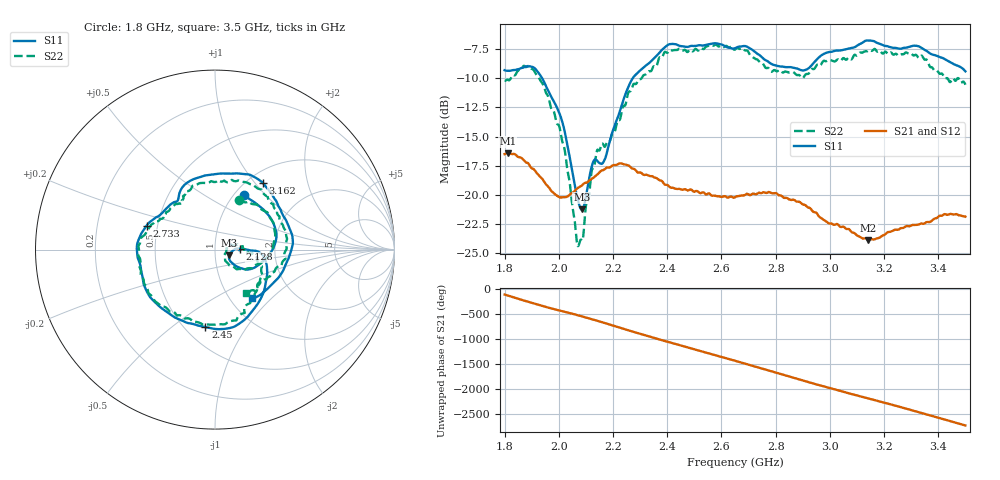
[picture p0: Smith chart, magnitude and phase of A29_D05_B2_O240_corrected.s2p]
! Created with skrf 1.9.0 (http://scikit-rf.org).
# Hz S RI R 50.0
!freq ReS11 ImS11 ReS21 ImS21 ReS12 ImS12 ReS22 ImS22
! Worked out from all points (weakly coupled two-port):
!   1601 points, 1.8 GHz to 3.5 GHz, reference 50 ohm
!   highest |S21| = -16.44 dB at 1.812 GHz (marker M1); lowest = -23.9 dB at 3.142 GHz (marker M2)
!   lowest |S11| = -21.3 dB at 2.085 GHz (marker M3), VSWR 1.19, Z = 58.6 - j3.73 ohm
!   |S11| at or under -10 dB: 1.939 GHz to 2.272 GHz (333.4 MHz wide, 15.8 % of centre)
!   |S22| runs from -24.4 to -7.1 dB; largest |S21 - S12| = 0.0028
!   S11 on the Smith chart (normalised r, x): 1.8 GHz: 1.11, +0.76; 2.128 GHz: 1.32, +0.01; 2.45 GHz: 0.62, -0.67; 2.733 GHz: 0.44, +0.14; 3.162 GHz: 1.16, +1.10; 3.5 GHz: 1.25, -0.77
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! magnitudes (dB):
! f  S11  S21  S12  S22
! 1.8 GHz  -9.3  -16.5  -16.5  -10.2
! 1.812 GHz  -9.3  -16.4  -16.4  -10.1
! 1.887 GHz  -9.0  -17.3  -17.4  -8.9
! 1.941 GHz  -10.1  -18.7  -18.7  -10.5
! 2.008 GHz  -13.4  -20.2  -20.2  -14.9
! 2.067 GHz  -20.1  -19.5  -19.5  -24.1
! 2.084 GHz  -21.3  -19.2  -19.2  -23.9
! 2.085 GHz  -21.3  -19.2  -19.2  -24.0
! 2.128 GHz  -17.1  -18.5  -18.5  -17.7
! 2.168 GHz  -17.1  -17.9  -17.9  -15.8
! 2.27 GHz  -10.1  -17.7  -17.7  -10.8
! 2.367 GHz  -7.9  -18.7  -18.6  -8.4
! 2.45 GHz  -7.2  -19.6  -19.5  -7.5
! 2.65 GHz  -7.4  -20.2  -20.2  -7.5
! 2.733 GHz  -7.9  -19.9  -19.9  -8.4
! 2.897 GHz  -9.3  -20.8  -20.8  -9.9
! 2.934 GHz  -8.8  -21.4  -21.3  -9.2
! 3.142 GHz  -6.7  -23.9  -23.8  -7.6
! 3.162 GHz  -6.8  -23.9  -23.8  -7.5
! 3.217 GHz  -7.3  -23.2  -23.2  -7.9
! 3.326 GHz  -7.2  -22.6  -22.6  -8.2
! 3.5 GHz  -9.4  -21.9  -21.9  -10.5
